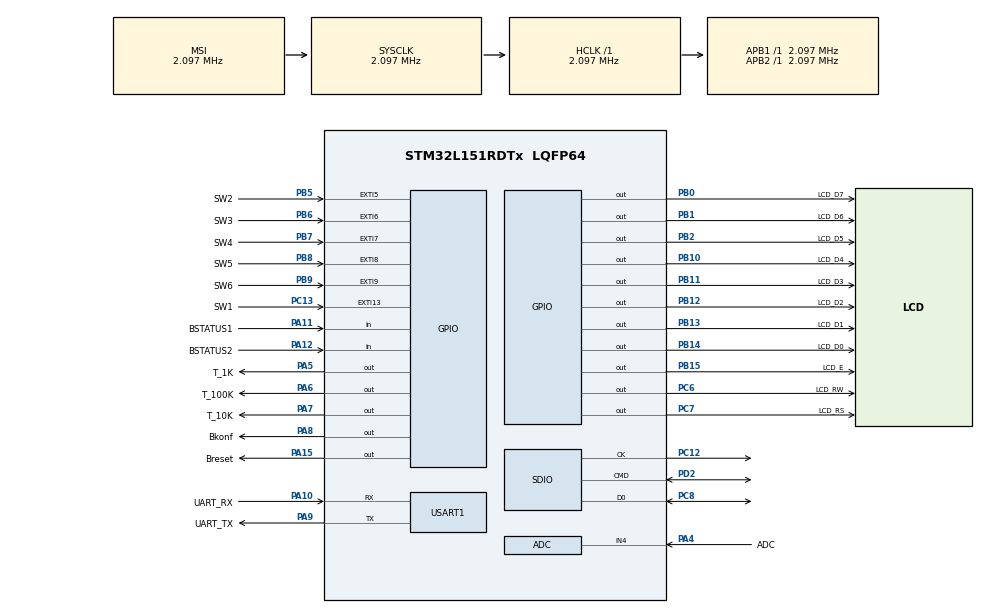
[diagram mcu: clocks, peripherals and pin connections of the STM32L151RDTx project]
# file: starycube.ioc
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ADC.Channel-12\#ChannelRegularConversion=ADC_CHANNEL_4
ADC.ChannelsBank=ADC_CHANNELS_BANK_A
ADC.ClockPrescaler=ADC_CLOCK_ASYNC_DIV1
ADC.ContinuousConvMode=DISABLE
ADC.DMAContinuousRequests=DISABLE
ADC.DataAlign=ADC_DATAALIGN_RIGHT
ADC.DiscontinuousConvMode=DISABLE
ADC.EOCSelection=ADC_EOC_SEQ_CONV
ADC.EnableAnalogWatchDog=false
ADC.ExternalTrigConv=ADC_SOFTWARE_START
ADC.ExternalTrigConvEdge=ADC_EXTERNALTRIGCONVEDGE_NONE
ADC.ExternalTrigInjecConv=ADC_INJECTED_SOFTWARE_START
ADC.ExternalTrigInjecConvEdge=ADC_EXTERNALTRIGINJECCONV_EDGE_NONE
ADC.InjNumberOfConversion=1
ADC.InjectedChannel-13\#ChannelInjectedConversion=ADC_CHANNEL_4
ADC.InjectedConvMode=None
ADC.InjectedOffset-13\#ChannelInjectedConversion=0
ADC.InjectedRank-13\#ChannelInjectedConversion=1
ADC.InjectedSamplingTime-13\#ChannelInjectedConversion=ADC_SAMPLETIME_4CYCLES
ADC.LowPowerAutoPowerOff=ADC_AUTOPOWEROFF_DISABLE
ADC.LowPowerAutoWait=ADC_AUTOWAIT_DISABLE
ADC.NbrOfConversion=1
ADC.NbrOfConversionFlag=1
ADC.Rank-12\#ChannelRegularConversion=1
ADC.Resolution=ADC_RESOLUTION_12B
ADC.SamplingTime-12\#ChannelRegularConversion=ADC_SAMPLETIME_4CYCLES
ADC.ScanConvMode=ADC_SCAN_DISABLE
Mcu.Family=STM32L1
Mcu.Name=STM32L151RDTx
Mcu.Package=LQFP64
NVIC.EXTI15_10_IRQn=true\:0\:0\:false\:false\:true
NVIC.EXTI9_5_IRQn=true\:0\:0\:false\:false\:true
NVIC.PriorityGroup=NVIC_PRIORITYGROUP_4
NVIC.TIM7_IRQn=true\:0\:0\:false\:false\:true
PA10.GPIO_Label=UART_RX
PA10.Mode=Asynchronous
PA10.Signal=USART1_RX
PA11.GPIO_Label=BSTATUS1
PA11.Signal=GPIO_Input
PA12.GPIO_Label=BSTATUS2
PA12.Signal=GPIO_Input
PA15.GPIO_Label=Breset
PA15.Signal=GPIO_Output
PA4.GPIO_Label=ADC
PA4.Mode=IN4
PA4.Signal=ADC_IN4
PA5.GPIO_Label=T_1K
PA5.Signal=GPIO_Output
PA6.GPIO_Label=T_100K
PA6.Signal=GPIO_Output
PA7.GPIO_Label=T_10K
PA7.Signal=GPIO_Output
PA8.GPIO_Label=Bkonf
PA8.Signal=GPIO_Output
PA9.GPIO_Label=UART_TX
PA9.Mode=Asynchronous
PA9.Signal=USART1_TX
PB0.GPIO_Label=LCD_D7
PB0.Signal=GPIO_Output
PB1.GPIO_Label=LCD_D6
PB1.Signal=GPIO_Output
PB10.GPIO_Label=LCD_D4
PB10.Signal=GPIO_Output
PB11.GPIO_Label=LCD_D3
PB11.Signal=GPIO_Output
PB12.GPIO_Label=LCD_D2
PB12.Signal=GPIO_Output
PB13.GPIO_Label=LCD_D1
PB13.Signal=GPIO_Output
PB14.GPIO_Label=LCD_D0
PB14.Signal=GPIO_Output
PB15.GPIO_Label=LCD_E
PB15.Signal=GPIO_Output
PB2.GPIO_Label=LCD_D5
PB2.Signal=GPIO_Output
PB5.GPIO_Label=SW2
PB5.Signal=GPXTI5
PB6.GPIO_Label=SW3
PB6.Signal=GPXTI6
PB7.GPIO_Label=SW4
PB7.Signal=GPXTI7
PB8.GPIO_Label=SW5
PB8.Signal=GPXTI8
PB9.GPIO_Label=SW6
PB9.Signal=GPXTI9
PC12.Mode=SD_1_bit
PC12.Signal=SDIO_CK
PC13-WKUP2.GPIO_Label=SW1
PC13-WKUP2.Signal=GPXTI13
PC6.GPIO_Label=LCD_RW
PC6.Signal=GPIO_Output
PC7.GPIO_Label=LCD_RS
PC7.Signal=GPIO_Output
PC8.Mode=SD_1_bit
PC8.Signal=SDIO_D0
PD2.Mode=SD_1_bit
PD2.Signal=SDIO_CMD
PH0-OSC_IN.Mode=HSE-External-Oscillator
PH0-OSC_IN.Signal=RCC_OSC_IN
PH1-OSC_OUT.Mode=HSE-External-Oscillator
PH1-OSC_OUT.Signal=RCC_OSC_OUT
ProjectManager.HeapSize=0x2000
ProjectManager.StackSize=0x4000
ProjectManager.TargetToolchain=TrueSTUDIO
RCC.AHBFreq_Value=2097000
RCC.APB1Freq_Value=2097000
RCC.APB2Freq_Value=2097000
RCC.APB2TimFreq_Value=2097000
RCC.HSE_VALUE=24000000
RCC.HSI_VALUE=16000000
RCC.LSE_VALUE=32768
RCC.MSI_VALUE=2097000
RCC.PLLMUL=RCC_PLL_MUL4
RCC.PLLSourceVirtual=RCC_PLLSOURCE_HSE
RCC.SYSCLKFreq_VALUE=2097000
RCC.USBOutput=48000000
RCC.VCOOutputFreq_Value=96000000
SDIO.ClockDiv=15
TIM7.Period=999
TIM7.Prescaler=2096
USART1.VirtualMode=VM_ASYNC
VP_FATFS_VS_SDIO.Mode=SDIO
VP_TIM7_VS_ClockSourceINT.Mode=Enable_Timer
board=starycube

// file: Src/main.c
/**
  ******************************************************************************
  * File Name          : main.c
  * Description        : Main program body
  ******************************************************************************
  * This notice applies to any and all portions of this file
  * that are not between comment pairs USER CODE BEGIN and
  * USER CODE END. Other portions of this file, whether
  * inserted by the user or by software development tools
  * are owned by their respective copyright owners.
  *
  * Copyright (c) 2019 STMicroelectronics International N.V.
  * All rights reserved.
  *
  * Redistribution and use in source and binary forms, with or without
  * modification, are permitted, provided that the following conditions are met:
  *
  * 1. Redistribution of source code must retain the above copyright notice,
  *    this list of conditions and the following disclaimer.
  * 2. Redistributions in binary form must reproduce the above copyright notice,
  *    this list of conditions and the following disclaimer in the documentation
  *    and/or other materials provided with the distribution.
  * 3. Neither the name of STMicroelectronics nor the names of other
  *    contributors to this software may be used to endorse or promote products
  *    derived from this software without specific written permission.
  * 4. This software, including modifications and/or derivative works of this
  *    software, must execute solely and exclusively on microcontroller or
  *    microprocessor devices manufactured by or for STMicroelectronics.
  * 5. Redistribution and use of this software other than as permitted under
  *    this license is void and will automatically terminate your rights under
  *    this license.
  *
  * THIS SOFTWARE IS PROVIDED BY STMICROELECTRONICS AND CONTRIBUTORS "AS IS"
  * AND ANY EXPRESS, IMPLIED OR STATUTORY WARRANTIES, INCLUDING, BUT NOT
  * LIMITED TO, THE IMPLIED WARRANTIES OF MERCHANTABILITY, FITNESS FOR A
  * PARTICULAR PURPOSE AND NON-INFRINGEMENT OF THIRD PARTY INTELLECTUAL PROPERTY
  * RIGHTS ARE DISCLAIMED TO THE FULLEST EXTENT PERMITTED BY LAW. IN NO EVENT
  * SHALL STMICROELECTRONICS OR CONTRIBUTORS BE LIABLE FOR ANY DIRECT, INDIRECT,
  * INCIDENTAL, SPECIAL, EXEMPLARY, OR CONSEQUENTIAL DAMAGES (INCLUDING, BUT NOT
  * LIMITED TO, PROCUREMENT OF SUBSTITUTE GOODS OR SERVICES; LOSS OF USE, DATA,
  * OR PROFITS; OR BUSINESS INTERRUPTION) HOWEVER CAUSED AND ON ANY THEORY OF
  * LIABILITY, WHETHER IN CONTRACT, STRICT LIABILITY, OR TORT (INCLUDING
  * NEGLIGENCE OR OTHERWISE) ARISING IN ANY WAY OUT OF THE USE OF THIS SOFTWARE,
  * EVEN IF ADVISED OF THE POSSIBILITY OF SUCH DAMAGE.
  *
  ******************************************************************************
  */
#include "main.h"
#include "stm32l1xx_hal.h"
#include "fatfs.h"

/* USER CODE BEGIN Includes */
#include "stm32l1xx_hal_liquid_crystal.h"
/* USER CODE END Includes */

ADC_HandleTypeDef hadc;

SD_HandleTypeDef hsd;
HAL_SD_CardInfoTypedef SDCardInfo;

TIM_HandleTypeDef htim7;

UART_HandleTypeDef huart1;

/* USER CODE BEGIN PV */
/* Private variables ---------------------------------------------------------*/
/* USER CODE BEGIN PV */
volatile uint8_t pomiarstart=0;
uint8_t guzik=0;
uint8_t menu=1;
uint8_t czaspomiaru=1;
uint8_t progwyzwalania=1;
uint8_t zapis=1;
uint8_t wzmocnienie=2;
uint32_t PomiarADC;
volatile uint8_t i=0;
volatile uint8_t zapisano;
uint8_t zapiszdo1=0;
uint32_t nrprobki=1;
FATFS myFATFS;
FIL myFile;
UINT myBytes=0;
int test=1;
char buffer [512];
char wynik [5];

/* USER CODE END PV */

void SystemClock_Config(void);
static void MX_GPIO_Init(void);
static void MX_SDIO_SD_Init(void);
static void MX_USART1_UART_Init(void);
static void MX_ADC_Init(void);
static void MX_TIM7_Init(void);

/* USER CODE BEGIN PFP */
/* Private function prototypes -----------------------------------------------*/
void HAL_GPIO_EXTI_Callback(uint16_t GPIO_Pin);
void HAL_TIM_PeriodElapsedCallback(TIM_HandleTypeDef *htim);
/* USER CODE END PFP */

int main(void)
{

  /* MCU Configuration----------------------------------------------------------*/

  /* Reset of all peripherals, Initializes the Flash interface and the Systick. */
  HAL_Init();

  /* Configure the system clock */
  SystemClock_Config();

  /* Initialize all configured peripherals */
  MX_GPIO_Init();
  MX_SDIO_SD_Init();
  MX_FATFS_Init();
  MX_USART1_UART_Init();
  MX_ADC_Init();
  MX_TIM7_Init();

  /* USER CODE BEGIN 2 */

  HAL_GPIO_WritePin(GPIOA, T_10K_Pin, GPIO_PIN_SET);
  LCD_Init(2, 16);
  LCD_PrintString(1, 1, "Rozpocznij pomiar");
 f_mount(&myFATFS,SD_Path,1);
 HAL_TIM_Base_Start_IT(&htim7);

  /* USER CODE END 2 */

  /* Infinite loop */
  /* USER CODE BEGIN WHILE */
  while (1)
  {

	  //HAL_ADC_Start_DMA(&hadc, PomiarADC,1);

//wrocic z adecem na przerwania a dma zrobiz sdio cicrulate buffer jak osiagnie polowe to zapisac ta polowe jak koniec to 2 polowe
	  if(pomiarstart==1)
	  {
			  LCD_PrintString(1, 1, "Trwa pomiar       ");
			  LCD_PrintString(2, 1, "                  ");

			  char fileName[] = "TEST1.txt\0";
			  if(f_open(&myFile, fileName, FA_WRITE | FA_CREATE_ALWAYS)==FR_OK)
			  {

				  while(nrprobki<12)
				  {
					  LCD_PrintString(1, 1, "nrprobki   ");
					  LCD_PrintNumber(2, 1, nrprobki);

					   //sprintf (buffer, "%ld,%ld;", nrprobki,PomiarADC);
					  //strcat(dozapisu,buffer);
					  sprintf(wynik,"%ld;",PomiarADC);
					  buffer[5*nrprobki]=wynik[0];
					  buffer[5*nrprobki+1]=wynik[1];
					  buffer[5*nrprobki+2]=wynik[2];
					  buffer[5*nrprobki+3]=wynik[3];
					  buffer[5*nrprobki+4]=wynik[4];
						  //strcat(dozapisu,buffer);
					  if(nrprobki==11)
					  {
			  		  f_write(&myFile,buffer,sizeof(buffer),&myBytes);
			  		  f_sync(&myFile);
			  		  zapisano=1;
					  }

				  }

		  		 f_close(&myFile);
				 LCD_PrintString(1, 1, "Pomiar zakonczony");
			  }
			  else
			  {
				  LCD_PrintString(1, 1, "Blad              ");
			  }

			  pomiarstart=0;
		  }

	  }
  /* USER CODE END WHILE */

}

/** System Clock Configuration
*/
void SystemClock_Config(void)
{

  RCC_OscInitTypeDef RCC_OscInitStruct;
  RCC_ClkInitTypeDef RCC_ClkInitStruct;

    /**Configure the main internal regulator output voltage
    */
  __HAL_PWR_VOLTAGESCALING_CONFIG(PWR_REGULATOR_VOLTAGE_SCALE1);

    /**Initializes the CPU, AHB and APB busses clocks
    */
  RCC_OscInitStruct.OscillatorType = RCC_OSCILLATORTYPE_HSI|RCC_OSCILLATORTYPE_HSE
                              |RCC_OSCILLATORTYPE_MSI;
  RCC_OscInitStruct.HSEState = RCC_HSE_ON;
  RCC_OscInitStruct.HSIState = RCC_HSI_ON;
  RCC_OscInitStruct.HSICalibrationValue = 16;
  RCC_OscInitStruct.MSIState = RCC_MSI_ON;
  RCC_OscInitStruct.MSICalibrationValue = 0;
  RCC_OscInitStruct.MSIClockRange = RCC_MSIRANGE_5;
  RCC_OscInitStruct.PLL.PLLState = RCC_PLL_ON;
  RCC_OscInitStruct.PLL.PLLSource = RCC_PLLSOURCE_HSE;
  RCC_OscInitStruct.PLL.PLLMUL = RCC_PLL_MUL4;
  RCC_OscInitStruct.PLL.PLLDIV = RCC_PLL_DIV2;
  if (HAL_RCC_OscConfig(&RCC_OscInitStruct) != HAL_OK)
  {
    _Error_Handler(__FILE__, __LINE__);
  }

    /**Initializes the CPU, AHB and APB busses clocks
    */
  RCC_ClkInitStruct.ClockType = RCC_CLOCKTYPE_HCLK|RCC_CLOCKTYPE_SYSCLK
                              |RCC_CLOCKTYPE_PCLK1|RCC_CLOCKTYPE_PCLK2;
  RCC_ClkInitStruct.SYSCLKSource = RCC_SYSCLKSOURCE_MSI;
  RCC_ClkInitStruct.AHBCLKDivider = RCC_SYSCLK_DIV1;
  RCC_ClkInitStruct.APB1CLKDivider = RCC_HCLK_DIV1;
  RCC_ClkInitStruct.APB2CLKDivider = RCC_HCLK_DIV1;

  if (HAL_RCC_ClockConfig(&RCC_ClkInitStruct, FLASH_LATENCY_0) != HAL_OK)
  {
    _Error_Handler(__FILE__, __LINE__);
  }

    /**Configure the Systick interrupt time
    */
  HAL_SYSTICK_Config(HAL_RCC_GetHCLKFreq()/1000);

    /**Configure the Systick
    */
  HAL_SYSTICK_CLKSourceConfig(SYSTICK_CLKSOURCE_HCLK);

  /* SysTick_IRQn interrupt configuration */
  HAL_NVIC_SetPriority(SysTick_IRQn, 0, 0);
}

/* ADC init function */
static void MX_ADC_Init(void)
{

  ADC_ChannelConfTypeDef sConfig;
  ADC_InjectionConfTypeDef sConfigInjected;

    /**Configure the global features of the ADC (Clock, Resolution, Data Alignment and number of conversion)
    */
  hadc.Instance = ADC1;
  hadc.Init.ClockPrescaler = ADC_CLOCK_ASYNC_DIV1;
  hadc.Init.Resolution = ADC_RESOLUTION_12B;
  hadc.Init.DataAlign = ADC_DATAALIGN_RIGHT;
  hadc.Init.ScanConvMode = ADC_SCAN_DISABLE;
  hadc.Init.EOCSelection = ADC_EOC_SEQ_CONV;
  hadc.Init.LowPowerAutoWait = ADC_AUTOWAIT_DISABLE;
  hadc.Init.LowPowerAutoPowerOff = ADC_AUTOPOWEROFF_DISABLE;
  hadc.Init.ChannelsBank = ADC_CHANNELS_BANK_A;
  hadc.Init.ContinuousConvMode = DISABLE;
  hadc.Init.NbrOfConversion = 1;
  hadc.Init.DiscontinuousConvMode = DISABLE;
  hadc.Init.ExternalTrigConv = ADC_SOFTWARE_START;
  hadc.Init.ExternalTrigConvEdge = ADC_EXTERNALTRIGCONVEDGE_NONE;
  hadc.Init.DMAContinuousRequests = DISABLE;
  if (HAL_ADC_Init(&hadc) != HAL_OK)
  {
    _Error_Handler(__FILE__, __LINE__);
  }

    /**Configure for the selected ADC regular channel its corresponding rank in the sequencer and its sample time.
    */
  sConfig.Channel = ADC_CHANNEL_4;
  sConfig.Rank = 1;
  sConfig.SamplingTime = ADC_SAMPLETIME_4CYCLES;
  if (HAL_ADC_ConfigChannel(&hadc, &sConfig) != HAL_OK)
  {
    _Error_Handler(__FILE__, __LINE__);
  }

    /**Configures for the selected ADC injected channel its corresponding rank in the sequencer and its sample time
    */
  sConfigInjected.InjectedChannel = ADC_CHANNEL_4;
  sConfigInjected.InjectedRank = 1;
  sConfigInjected.InjectedSamplingTime = ADC_SAMPLETIME_4CYCLES;
  sConfigInjected.InjectedOffset = 0;
  sConfigInjected.ExternalTrigInjecConv = ADC_INJECTED_SOFTWARE_START;
  sConfigInjected.ExternalTrigInjecConvEdge = ADC_EXTERNALTRIGINJECCONV_EDGE_NONE;
  if (HAL_ADCEx_InjectedConfigChannel(&hadc, &sConfigInjected) != HAL_OK)
  {
    _Error_Handler(__FILE__, __LINE__);
  }

}

/* SDIO init function */
static void MX_SDIO_SD_Init(void)
{

  hsd.Instance = SDIO;
  hsd.Init.ClockEdge = SDIO_CLOCK_EDGE_RISING;
  hsd.Init.ClockBypass = SDIO_CLOCK_BYPASS_DISABLE;
  hsd.Init.ClockPowerSave = SDIO_CLOCK_POWER_SAVE_DISABLE;
  hsd.Init.BusWide = SDIO_BUS_WIDE_1B;
  hsd.Init.HardwareFlowControl = SDIO_HARDWARE_FLOW_CONTROL_DISABLE;
  hsd.Init.ClockDiv = 15;

}

/* TIM7 init function */
static void MX_TIM7_Init(void)
{

  TIM_MasterConfigTypeDef sMasterConfig;

  htim7.Instance = TIM7;
  htim7.Init.Prescaler = 2096;
  htim7.Init.CounterMode = TIM_COUNTERMODE_UP;
  htim7.Init.Period = 999;
  if (HAL_TIM_Base_Init(&htim7) != HAL_OK)
  {
    _Error_Handler(__FILE__, __LINE__);
  }

  sMasterConfig.MasterOutputTrigger = TIM_TRGO_RESET;
  sMasterConfig.MasterSlaveMode = TIM_MASTERSLAVEMODE_DISABLE;
  if (HAL_TIMEx_MasterConfigSynchronization(&htim7, &sMasterConfig) != HAL_OK)
  {
    _Error_Handler(__FILE__, __LINE__);
  }

}

/* USART1 init function */
static void MX_USART1_UART_Init(void)
{

  huart1.Instance = USART1;
  huart1.Init.BaudRate = 115200;
  huart1.Init.WordLength = UART_WORDLENGTH_8B;
  huart1.Init.StopBits = UART_STOPBITS_1;
  huart1.Init.Parity = UART_PARITY_NONE;
  huart1.Init.Mode = UART_MODE_TX_RX;
  huart1.Init.HwFlowCtl = UART_HWCONTROL_NONE;
  huart1.Init.OverSampling = UART_OVERSAMPLING_16;
  if (HAL_UART_Init(&huart1) != HAL_OK)
  {
    _Error_Handler(__FILE__, __LINE__);
  }

}

/** Configure pins as
        * Analog
        * Input
        * Output
        * EVENT_OUT
        * EXTI
*/
static void MX_GPIO_Init(void)
{

  GPIO_InitTypeDef GPIO_InitStruct;

  /* GPIO Ports Clock Enable */
  __HAL_RCC_GPIOC_CLK_ENABLE();
  __HAL_RCC_GPIOH_CLK_ENABLE();
  __HAL_RCC_GPIOA_CLK_ENABLE();
  __HAL_RCC_GPIOB_CLK_ENABLE();
  __HAL_RCC_GPIOD_CLK_ENABLE();

  /*Configure GPIO pin Output Level */
  HAL_GPIO_WritePin(GPIOA, T_1K_Pin|T_100K_Pin|T_10K_Pin|Bkonf_Pin
                          |Breset_Pin, GPIO_PIN_RESET);

  /*Configure GPIO pin Output Level */
  HAL_GPIO_WritePin(GPIOB, LCD_D7_Pin|LCD_D6_Pin|LCD_D5_Pin|LCD_D4_Pin
                          |LCD_D3_Pin|LCD_D2_Pin|LCD_D1_Pin|LCD_D0_Pin
                          |LCD_E_Pin, GPIO_PIN_RESET);

  /*Configure GPIO pin Output Level */
  HAL_GPIO_WritePin(GPIOC, LCD_RW_Pin|LCD_RS_Pin, GPIO_PIN_RESET);

  /*Configure GPIO pin : SW1_Pin */
  GPIO_InitStruct.Pin = SW1_Pin;
  GPIO_InitStruct.Mode = GPIO_MODE_IT_RISING;
  GPIO_InitStruct.Pull = GPIO_NOPULL;
  HAL_GPIO_Init(SW1_GPIO_Port, &GPIO_InitStruct);

  /*Configure GPIO pins : T_1K_Pin T_100K_Pin T_10K_Pin Bkonf_Pin
                           Breset_Pin */
  GPIO_InitStruct.Pin = T_1K_Pin|T_100K_Pin|T_10K_Pin|Bkonf_Pin
                          |Breset_Pin;
  GPIO_InitStruct.Mode = GPIO_MODE_OUTPUT_PP;
  GPIO_InitStruct.Pull = GPIO_NOPULL;
  GPIO_InitStruct.Speed = GPIO_SPEED_FREQ_LOW;
  HAL_GPIO_Init(GPIOA, &GPIO_InitStruct);

  /*Configure GPIO pins : LCD_D7_Pin LCD_D6_Pin LCD_D5_Pin LCD_D4_Pin
                           LCD_D3_Pin LCD_D2_Pin LCD_D1_Pin LCD_D0_Pin
                           LCD_E_Pin */
  GPIO_InitStruct.Pin = LCD_D7_Pin|LCD_D6_Pin|LCD_D5_Pin|LCD_D4_Pin
                          |LCD_D3_Pin|LCD_D2_Pin|LCD_D1_Pin|LCD_D0_Pin
                          |LCD_E_Pin;
  GPIO_InitStruct.Mode = GPIO_MODE_OUTPUT_PP;
  GPIO_InitStruct.Pull = GPIO_NOPULL;
  GPIO_InitStruct.Speed = GPIO_SPEED_FREQ_LOW;
  HAL_GPIO_Init(GPIOB, &GPIO_InitStruct);

  /*Configure GPIO pins : LCD_RW_Pin LCD_RS_Pin */
  GPIO_InitStruct.Pin = LCD_RW_Pin|LCD_RS_Pin;
  GPIO_InitStruct.Mode = GPIO_MODE_OUTPUT_PP;
  GPIO_InitStruct.Pull = GPIO_NOPULL;
  GPIO_InitStruct.Speed = GPIO_SPEED_FREQ_LOW;
  HAL_GPIO_Init(GPIOC, &GPIO_InitStruct);

  /*Configure GPIO pins : BSTATUS1_Pin BSTATUS2_Pin */
  GPIO_InitStruct.Pin = BSTATUS1_Pin|BSTATUS2_Pin;
  GPIO_InitStruct.Mode = GPIO_MODE_INPUT;
  GPIO_InitStruct.Pull = GPIO_NOPULL;
  HAL_GPIO_Init(GPIOA, &GPIO_InitStruct);

  /*Configure GPIO pins : SW2_Pin SW3_Pin SW4_Pin SW5_Pin
                           SW6_Pin */
  GPIO_InitStruct.Pin = SW2_Pin|SW3_Pin|SW4_Pin|SW5_Pin
                          |SW6_Pin;
  GPIO_InitStruct.Mode = GPIO_MODE_IT_RISING;
  GPIO_InitStruct.Pull = GPIO_NOPULL;
  HAL_GPIO_Init(GPIOB, &GPIO_InitStruct);

  /* EXTI interrupt init*/
  HAL_NVIC_SetPriority(EXTI9_5_IRQn, 0, 0);
  HAL_NVIC_EnableIRQ(EXTI9_5_IRQn);

  HAL_NVIC_SetPriority(EXTI15_10_IRQn, 0, 0);
  HAL_NVIC_EnableIRQ(EXTI15_10_IRQn);

}

/* USER CODE BEGIN 4 */

void HAL_GPIO_EXTI_Callback(uint16_t GPIO_Pin){
	 if(GPIO_Pin == SW1_Pin){
		 guzik=1;
		 // LCD_PrintNumber(1, 1, guzik);
	 }
	 else if(GPIO_Pin == SW2_Pin)
	 {
		 guzik=2;
		  //LCD_PrintString(1, 1, "SW2 ");
	 }
	 else if(GPIO_Pin == SW3_Pin)
	 {
		 guzik=3;
		  //LCD_PrintString(1, 1, "SW3 ");
	 }
	 else if(GPIO_Pin == SW4_Pin)
	 {
		 guzik=4;
		  //LCD_PrintString(1, 1, "SW4 ");
	 }
	 else if(GPIO_Pin == SW5_Pin)
	 {
		 guzik=5;
		  //LCD_PrintString(1, 1, "SW5 ");
	 }
	 else if(GPIO_Pin == SW6_Pin)
	 {
		 guzik=6;
		 // LCD_PrintString(1, 1, "SW6 ");
	 }

	 switch(menu){
	 case 1: //Rozpocznij pomiar
		 switch (guzik){
		 	 case 1:
		 	 case 2:
		 		 menu=2; //ustaw parametry pomiaru
			 		LCD_PrintString(1, 1,"                  )");
			 		LCD_PrintString(2, 1,"                  )");
		 		LCD_PrintString(1, 1, "Ustaw parametry pomiaru");
		 	 break;
		 	 case 5:
		 		pomiarstart=1;
		 	 break;
		 	 case 3:
		 	 case 4:
		 	 case 6:
		 	break; //nie rob nic
		 	 }
		 break;
	 case 2://Ustaw parametry pomiaru
		 switch (guzik){
		 	 case 1:
		 	 case 2:
		 		 menu=1;//rozpocznij pomiar
			 		LCD_PrintString(1, 1,"                  )");
			 		LCD_PrintString(2, 1,"                  )");
			 	LCD_PrintString(1, 1, "Rozpocznij pomiar");
		 		 break;
		 	 case 3:
		 	 case 4:
		 	 case 6:
		 		 break;// nie rob nic
		 	 case 5:
		 		 menu=3;//Sposób pomiaru
			 		LCD_PrintString(1, 1,"                  )");
			 		LCD_PrintString(2, 1,"                  )");
		 		LCD_PrintString(1, 1, "Tryb pomiaru:"); //od nacisniecia guzika czy wyzwalany
		 		LCD_PrintString(2, 1, "wyzw. napieciem"); //od nacisniecia guzika czy wyzwalany
		 		break;
		 	 }
		 break;
	 case 3:
		 switch (guzik){
		 	 case 1:
		 	 case 2:
		 	break;//nie rob nic
		 	 case 3:
		 		 menu=2; //ustaw parametry pomiaru
			 		LCD_PrintString(1, 1,"                  )");
			 		LCD_PrintString(2, 1,"                  )");
		 		LCD_PrintString(1, 1, "Ustaw parametry pomiaru");
		 	break;
		 	 case 4:
		 	 case 6:
		 		 menu=4;//wyzwalany przyciskiem
			 		LCD_PrintString(1, 1,"                  )");
			 		LCD_PrintString(2, 1,"                  )");
		 		LCD_PrintString(1, 1, "Tryb pomiaru:");
		 		LCD_PrintString(2, 1, "wyzw. przyciskiem"); //od nacisniecia guzika czy wyzwalany
		 	 break;
		 	 case 5:
		 		 menu=5;//ustawiamy czas trwania pomiaru
			 		LCD_PrintString(1, 1,"                  )");
			 		LCD_PrintString(2, 1,"                  )");
		 		LCD_PrintString(1, 1, "Czas trwania pomiaru:");
		 		LCD_PrintNumber(2,1,czaspomiaru);
		 	 break;
		 		}
		 break;
		 case 4:
			 switch (guzik){
			 	 case 1:
			 	 case 2:
			 	break;//nie rob nic
			 	 case 3:
			 		 menu=2; //ustaw parametry pomiaru
				 		LCD_PrintString(1, 1,"                  )");
				 		LCD_PrintString(2, 1,"                  )");
			 		LCD_PrintString(1, 1, "Ustaw parametry pomiaru");
			 	break;
			 	 case 4:
			 	 case 6:
			 		 menu=3;//wyzwalany przyciskiem
				 		LCD_PrintString(1, 1,"                  )");
				 		LCD_PrintString(2, 1,"                  )");
			 		LCD_PrintString(1, 1, "Tryb pomiaru:");
			 		LCD_PrintString(2, 1, "wyzw. napieciem"); //od nacisniecia guzika czy wyzwalany
			 	 break;
			 	 case 5:
			 		 menu=5;//ustawiamy czas trwania pomiaru
				 		LCD_PrintString(1, 1,"                  )");
				 		LCD_PrintString(2, 1,"                  )");
			 		LCD_PrintString(1, 1, "Czas trwania pomiaru:");
			 		LCD_PrintNumber(2,1,czaspomiaru);
			 	 break;
			 		}
			 break;
			 case 5:
				 switch (guzik){
				 	 case 1:
				 		 menu=7;
					 		LCD_PrintString(1, 1,"                  )");
					 		LCD_PrintString(2, 1,"                  )");
				 		LCD_PrintString(1, 1, "Prog wyzwalania");
				 		LCD_PrintNumber(2,1,progwyzwalania);
				 		 break;
				 	 case 2:
				 		 menu=6;
					 		LCD_PrintString(1, 1,"                  )");
					 		LCD_PrintString(2, 1,"                  )");
				 		LCD_PrintString(1, 1, "Gdzie zapisac");
				 		LCD_PrintNumber(2,1,zapis);
				 	break;
				 	 case 3:
				 		 menu=3;
					 		LCD_PrintString(1, 1,"                  )");
					 		LCD_PrintString(2, 1,"                  )");
					 	LCD_PrintString(1, 1, "Tryb pomiaru:"); //od nacisniecia guzika czy wyzwalany
					 	LCD_PrintString(2, 1, "wyzw. napieciem"); //od nacisniecia guzika czy wyzwalany
					 	break;
				 	 case 4:
				 		 czaspomiaru++;
				 		 if(czaspomiaru==16){czaspomiaru=1;}
				 		 	LCD_PrintString(1, 1,"                  )");
					 		LCD_PrintString(2, 1,"                  )");
					 		LCD_PrintString(1, 1, "Czas trwania pomiaru:");
					 		LCD_PrintNumber(2,1,czaspomiaru);
					 		break;
				 	 case 6:
				 		 czaspomiaru--;
				 		if(czaspomiaru==0){czaspomiaru=15;}
				 		LCD_PrintString(1, 1,"                  )");
				 		LCD_PrintString(2, 1,"                  )");
				 		LCD_PrintString(1, 1, "Czas trwania pomiaru:");
					 		LCD_PrintNumber(2,1,czaspomiaru);
				 		 break;
				 	 case 5:
				 		 menu=1;
					 		LCD_PrintString(1, 1,"                  )");
					 		LCD_PrintString(2, 1,"                  )");
				 		LCD_PrintString(1, 1, "Rozpocznij pomiar");
				 	 break;
				 }
				 break;
				case 6:
					switch (guzik){
						 case 1:
							 menu=5;
						 		LCD_PrintString(1, 1,"                  )");
						 		LCD_PrintString(2, 1,"                  )");
						 		LCD_PrintString(1, 1, "Czas trwania pomiaru:");
						 		LCD_PrintNumber(2,1,czaspomiaru);
						 	break;
						 case 2:
						 	 menu=7;
						 		LCD_PrintString(1, 1,"                  )");
						 		LCD_PrintString(2, 1,"                  )");
						 		LCD_PrintString(1, 1, "Prog wyzwalania");
						 		LCD_PrintNumber(2,1,progwyzwalania);
						 break;
						 case 3:
							 menu=3;
						 		LCD_PrintString(1, 1,"                  )");
						 		LCD_PrintString(2, 1,"                  )");
							 LCD_PrintString(1, 1, "Tryb pomiaru:"); //od nacisniecia guzika czy wyzwalany
							 LCD_PrintString(2, 1, "wyzw. napieciem"); //od nacisniecia guzika czy wyzwalany
							 break;
						  case 4:
						 	 zapis++;
						 	 if(zapis==4){zapis=1;}
						 	 	 LCD_PrintString(1, 1,"                  )");
						 		LCD_PrintString(2, 1,"                  )");
						 		LCD_PrintString(1, 1, "Gdzie zapisac");
							LCD_PrintNumber(2,1,zapis);
							break;
						  case 6:
							  zapis--;
						 	if(zapis==0){zapis=3;}
						 	LCD_PrintString(1, 1,"                  )");
					 		LCD_PrintString(2, 1,"                  )");
					 		LCD_PrintString(1, 1, "Gdzie zapisac");
								LCD_PrintNumber(2,1,zapis);
						 	 break;
						  case 5:
						 	 menu=1;
						 		LCD_PrintString(1, 1,"                  )");
						 		LCD_PrintString(2, 1,"                  )");
						 	LCD_PrintString(1, 1, "Rozpocznij pomiar");
						 	 break;
				 		}
					break;
				case 7:
					switch (guzik){
						case 1:
					 		 menu=6;
					 		LCD_PrintString(1, 1,"                  )");
					 		LCD_PrintString(2, 1,"                  )");
					 		LCD_PrintString(1, 1, "Gdzie zapisac");
					 		LCD_PrintNumber(2,1,zapis);
							break;
						 case 2:
							 menu=5;
						 		LCD_PrintString(1, 1,"                  )");
						 		LCD_PrintString(2, 1,"                  )");
						 		LCD_PrintString(1, 1, "Czas trwania pomiaru:");
						 		LCD_PrintNumber(2,1,czaspomiaru);
						 break;
						 case 3:
							 menu=3;
						 		LCD_PrintString(1, 1,"                  )");
						 		LCD_PrintString(2, 1,"                  )");
							LCD_PrintString(1, 1, "Tryb pomiaru:"); //od nacisniecia guzika czy wyzwalany
							LCD_PrintString(2, 1, "pomiar wyzwalany napieciem"); //od nacisniecia guzika czy wyzwalany
							 break;
						case 4:
							progwyzwalania++;
							 if(progwyzwalania==6){progwyzwalania=1;}
							 LCD_PrintString(1, 1,"                  )");
						 		LCD_PrintString(2, 1,"                  )");
						 		LCD_PrintString(1, 1, "Prog wyzwalania");
							 LCD_PrintNumber(2,1,progwyzwalania);
							break;
						case 6:

							progwyzwalania--;
							if(progwyzwalania==0){progwyzwalania=5;}
							LCD_PrintString(1, 1,"                  )");
					 		LCD_PrintString(2, 1,"                  )");
					 		LCD_PrintString(1, 1, "Prog wyzwalania");
							LCD_PrintNumber(2,1,progwyzwalania);
							 break;
						case 5:
							 menu=1;
						 		LCD_PrintString(1, 1,"                  )");
						 		LCD_PrintString(2, 1,"                  )");
							LCD_PrintString(1, 1, "Rozpocznij pomiar");
							 break;
					 		}

	 }

}
/*
void rozpocznijpomiar()
{

	  char fileName[] = "TEST.txt\0";
	  	  if(f_open(&myFile, fileName, FA_WRITE | FA_CREATE_ALWAYS)==FR_OK)
	  	  	  {
	  		  HAL_ADC_Start(&hadc);
	  		  int i=0;
	  		  while (i<40000)
	  		  	  {
	  			  if (HAL_ADC_PollForConversion(&hadc, 10) == HAL_OK) // Oczekiwanie na zakonczenie konwersji
	  			  	  {
	  				  PomiarADC = HAL_ADC_GetValue(&hadc);// Pobranie zmierzonej wartosci
	  				  wynikpomiaru = (3.3*PomiarADC)/4095;// Przeliczenie wartosci zmierzonej na napiecie
	  				  LCD_PrintString(1, 1, "Obecny wynik:");
	  				  LCD_PrintNumber(2,1,PomiarADC);
	  				  LCD_PrintFloat(2,7,wynikpomiaru,4);

	  		  		char myData[12];
	  				sprintf(myData, "%d;%d", i,PomiarADC);

	  		  		  f_write(&myFile, myData,sizeof(myData),&myBytes);

	  				  HAL_ADC_Start(&hadc);// Rozpoczecie nowej konwersji
	  			  	  }
	  		  	  }
	  		  f_close(&myFile);
	  	  	  }

		  LCD_PrintString(1, 1, "Pomiar zakonczony");

}*/

void HAL_TIM_PeriodElapsedCallback(TIM_HandleTypeDef *htim){
 if(htim->Instance == TIM7 && pomiarstart==1){ // Je¿eli przerwanie pochodzi od timera 7

	 HAL_ADC_Start(&hadc);
	 	 PomiarADC = HAL_ADC_GetValue(&hadc);// Pobranie zmierzonej wartosci

	 	 nrprobki++;

 }
}

/* USER CODE END 4 */

void _Error_Handler(char * file, int line)
{
  while(1)
  {
  }
}

/************************ (C) COPYRIGHT STMicroelectronics *****END OF FILE****/
